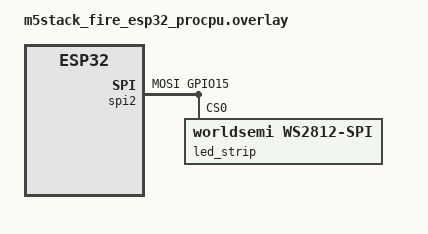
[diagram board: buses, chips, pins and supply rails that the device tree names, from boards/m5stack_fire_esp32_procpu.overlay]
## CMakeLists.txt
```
# Copyright (c) 2026 Lenka Koskova Triskova
#
# SPDX-License-Identifier: Apache-2.0
# https://www.apache.org/licenses/LICENSE-2.0

cmake_minimum_required(VERSION 3.20.0)

# Shared with 04-led-shell - see common/boards/ for why: same onboard
# LED strip, same devicetree fixes, one overlay for both.
set(DTC_OVERLAY_FILE ${CMAKE_CURRENT_SOURCE_DIR}/../common/boards/m5stack_fire_esp32_procpu.overlay)

find_package(Zephyr REQUIRED HINTS $ENV{ZEPHYR_BASE})
project(led_strip)

target_sources(app PRIVATE src/main.c)
```

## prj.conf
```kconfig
# Copyright (c) 2026 Lenka Koskova Triskova
#
# SPDX-License-Identifier: Apache-2.0
# https://www.apache.org/licenses/LICENSE-2.0

CONFIG_LOG=y
CONFIG_LED_STRIP=y
CONFIG_SHELL=y
```

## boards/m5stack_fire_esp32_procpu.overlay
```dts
/*
 * The M5Stack Fire has an onboard SK6812 (WS2812-compatible) RGB LED strip
 * of 10 pixels, wired to GPIO15 as a single data line. Zephyr's GPIO
 * bit-bang WS2812 driver only supports Nordic nRF SoCs, so on ESP32 we
 * drive it over SPI instead: SPI2 is otherwise unused on this board (SPI3
 * is already claimed by the SD card), and its MOSI signal is routed to
 * GPIO15 via the ESP32 GPIO matrix (SCLK/MISO are left unconnected -
 * WS2812 only needs the data line).
 */

#include <zephyr/dt-bindings/pinctrl/esp-pinctrl-common.h>
#include <zephyr/dt-bindings/pinctrl/esp32-pinctrl.h>
#include <zephyr/dt-bindings/pinctrl/esp32-gpio-sigmap.h>
#include <zephyr/dt-bindings/led/led.h>
#include <zephyr/dt-bindings/led/worldsemi_ws2812c.h>

/ {
	aliases {
		led-strip = &led_strip;
	};
};

&pinctrl {
	spim2_ws2812_led: spim2_ws2812_led {
		group1 {
			pinmux = <SPIM2_MOSI_GPIO15>;
		};
	};
};

&spi2 {
	status = "okay";
	#address-cells = <1>;
	#size-cells = <0>;
	pinctrl-0 = <&spim2_ws2812_led>;
	pinctrl-names = "default";
	line-idle-low;

	led_strip: ws2812@0 {
		compatible = "worldsemi,ws2812-spi";
		reg = <0>;
		spi-max-frequency = <WS2812C_SPI_FREQ>;

		chain-length = <10>;
		color-mapping = <LED_COLOR_ID_GREEN>,
				 <LED_COLOR_ID_RED>,
				 <LED_COLOR_ID_BLUE>;
		spi-one-frame = <WS2812C_ONE_FRAME>;
		spi-zero-frame = <WS2812C_ZERO_FRAME>;
	};
};
```

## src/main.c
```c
/*
 * Copyright (c) 2026 Lenka Koskova Triskova
 *
 * SPDX-License-Identifier: Apache-2.0
 * https://www.apache.org/licenses/LICENSE-2.0
 */

#include <zephyr/kernel.h>
#include <zephyr/device.h>
#include <zephyr/drivers/led_strip.h>
#include <zephyr/sys/util.h>
#include <zephyr/logging/log.h>

LOG_MODULE_REGISTER(main);

#define STRIP_NODE DT_ALIAS(led_strip)
#define STRIP_NUM_PIXELS DT_PROP(STRIP_NODE, chain_length)
#define BRIGHTNESS 0x20

#define RGB(_r, _g, _b) { .r = (_r), .g = (_g), .b = (_b) }

static const struct led_rgb colors[] = {
	RGB(BRIGHTNESS, 0x00, 0x00), /* red */
	RGB(0x00, BRIGHTNESS, 0x00), /* green */
	RGB(0x00, 0x00, BRIGHTNESS), /* blue */
	RGB(BRIGHTNESS, BRIGHTNESS, BRIGHTNESS), /* white */
};

static struct led_rgb pixels[STRIP_NUM_PIXELS];

static const struct device *const strip = DEVICE_DT_GET(STRIP_NODE);

int main(void)
{
	if (!device_is_ready(strip)) {
		LOG_ERR("LED strip device %s is not ready", strip->name);
		return 0;
	}

	LOG_INF("Lighting up %d pixels on %s", STRIP_NUM_PIXELS, strip->name);

	size_t color = 0;

	while (1) {
		for (size_t i = 0; i < STRIP_NUM_PIXELS; i++) {
			pixels[i] = colors[color];
		}

		int rc = led_strip_update_rgb(strip, pixels, STRIP_NUM_PIXELS);

		if (rc) {
			LOG_ERR("couldn't update strip: %d", rc);
		}

		color = (color + 1) % ARRAY_SIZE(colors);
		k_sleep(K_SECONDS(1));
	}

	return 0;
}
```
